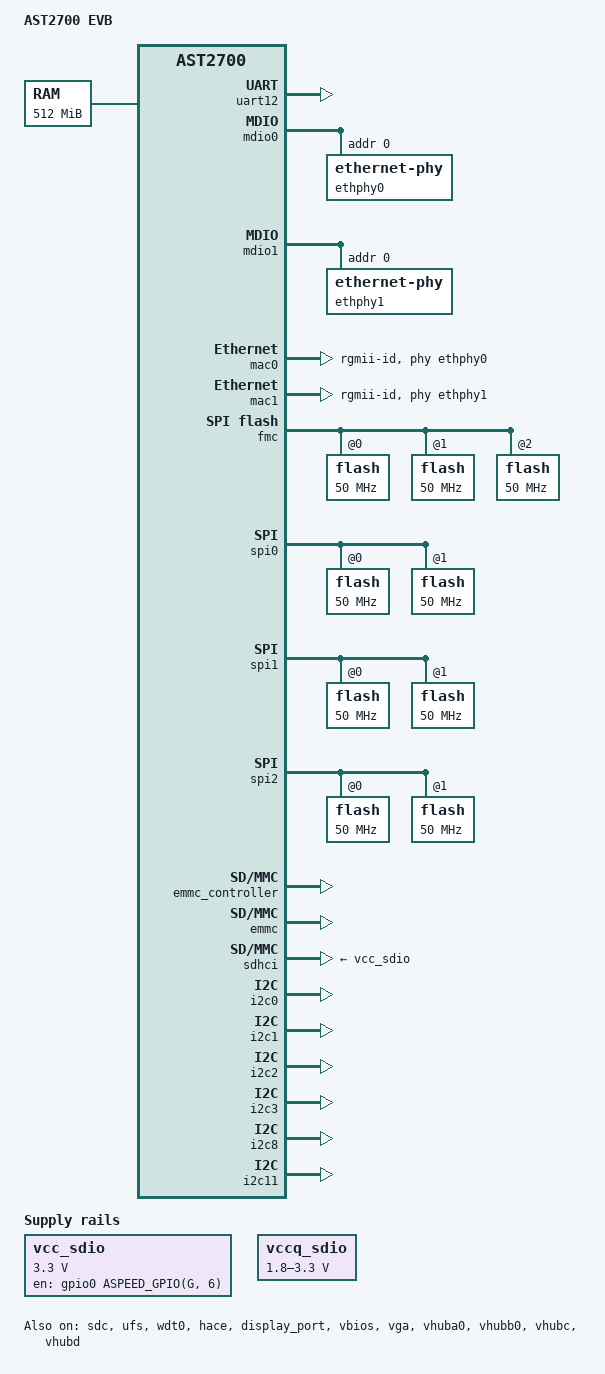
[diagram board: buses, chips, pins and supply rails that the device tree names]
// SPDX-License-Identifier: GPL-2.0+

/dts-v1/;

#include "ast2700.dtsi"
#include "ast2700-u-boot.dtsi"
#include <dt-bindings/net/ti-dp83867.h>

#define DUAL_NODE 0	// 1: DUAL_NODE, 0: SINGLE_NODE
#define EDAF_128MB 0	// 1: 128MB, 0: 64MB

/ {
	model = "AST2700 EVB";
	compatible = "aspeed,ast2700-evb", "aspeed,ast2700";

	memory {
		device_type = "memory";
		reg = <0x4 0x00000000 0x0 0x20000000>;
	};

	chosen {
		stdout-path = &uart12;
	};

	reserved-memory {
		#address-cells = <2>;
		#size-cells = <2>;

		#include "ast2700-evb-reserved-mem.dtsi"
	};
};

&uart12 {
	status = "okay";
};

&mdio0 {
	status = "okay";
	#address-cells = <1>;
	#size-cells = <0>;
	ethphy0: ethernet-phy@0 {
		reg = <0>;
	};
};

&mdio1 {
	status = "okay";
	#address-cells = <1>;
	#size-cells = <0>;
	ethphy1: ethernet-phy@0 {
		reg = <0>;
		/* For DDR5 board */
		ti,rx-internal-delay = <DP83867_RGMIIDCTL_2_00_NS>;
		ti,tx-internal-delay = <DP83867_RGMIIDCTL_2_00_NS>;
	};
};

&mac0 {
	status = "okay";
	phy-mode = "rgmii-id";
	phy-handle = <&ethphy0>;
	pinctrl-names = "default";
	pinctrl-0 = <&pinctrl_rgmii0_default>;
	rx-internal-delay-ps = <0>;
	tx-internal-delay-ps = <0>;
};

&mac1 {
	status = "okay";
	phy-mode = "rgmii-id";
	phy-handle = <&ethphy1>;
	pinctrl-names = "default";
	pinctrl-0 = <&pinctrl_rgmii1_default>;
	rx-internal-delay-ps = <0>;
	tx-internal-delay-ps = <0>;
};

#if 0
&pcie0 {
	status = "okay";
};

&pcie1 {
	status = "okay";
};

#define PCIE2_RC 1	// 1: RC, 0: SGMII
#if PCIE2_RC
&pcie2 {
	status = "okay";
};
#else
&mdio2 {
	status = "okay";
	#address-cells = <1>;
	#size-cells = <0>;
	ethphy2: ethernet-phy@0 {
		reg = <0>;
	};
};

&mac2 {
	status = "okay";
	phy-handle = <&ethphy2>;
};
#endif
#endif

&fmc {
	status = "okay";
	pinctrl-names = "default";
	pinctrl-0 = <&pinctrl_fwspi_quad_default>;

	flash@0 {
		status = "okay";
		spi-max-frequency = <50000000>;
		spi-tx-bus-width = <4>;
		spi-rx-bus-width = <4>;
	};

	flash@1 {
		status = "okay";
		spi-max-frequency = <50000000>;
		spi-tx-bus-width = <4>;
		spi-rx-bus-width = <4>;
	};

	flash@2 {
		status = "okay";
		spi-max-frequency = <50000000>;
		spi-tx-bus-width = <4>;
		spi-rx-bus-width = <4>;
	};
};

&spi0 {
	status = "okay";
	pinctrl-names = "default";
	pinctrl-0 = <&pinctrl_spi0_default &pinctrl_spi0_cs1_default>;

	flash@0 {
		status = "okay";
		spi-max-frequency = <50000000>;
		spi-tx-bus-width = <2>;
		spi-rx-bus-width = <2>;
	};

	flash@1 {
		status = "okay";
		spi-max-frequency = <50000000>;
		spi-tx-bus-width = <2>;
		spi-rx-bus-width = <2>;
	};
};

&spi1 {
	status = "okay";
	pinctrl-names = "default";
	pinctrl-0 = <&pinctrl_spi1_default &pinctrl_spi1_cs1_default>;

	flash@0 {
		status = "okay";
		spi-max-frequency = <50000000>;
		spi-tx-bus-width = <2>;
		spi-rx-bus-width = <2>;
	};

	flash@1 {
		status = "okay";
		spi-max-frequency = <50000000>;
		spi-tx-bus-width = <2>;
		spi-rx-bus-width = <2>;
	};
};

&spi2 {
	status = "okay";
	pinctrl-names = "default";
	pinctrl-0 = <&pinctrl_spi2_default &pinctrl_spi2_cs1_default>;

#if 1
	flash@0 {
		status = "okay";
		spi-max-frequency = <50000000>;
		spi-tx-bus-width = <2>;
		spi-rx-bus-width = <2>;
	};

	flash@1 {
		status = "okay";
		spi-max-frequency = <50000000>;
		spi-tx-bus-width = <2>;
		spi-rx-bus-width = <2>;
	};
#else
	compatible = "aspeed,ast2700-spi-txrx";
	spi-aspeed-full-duplex;
	tpm0: tpmdev@0 {
		compatible = "tcg,tpm_tis-spi";
		spi-max-frequency = <25000000>;
		reg = <0>;
		status = "okay";
	};
#endif
};

&emmc_controller {
	status = "okay";
	sdhci_hs200; /* enable hs200 */
};

&emmc {
	status = "okay";
	max-frequency = <200000000>;
};

&sdc {
	status = "okay";
	sdhci_hs200; /* enable sdr104 */

	vcc_sdio: vcc-sdio {
		status = "okay";
		compatible = "regulator-fixed";
		gpios = <&gpio0 ASPEED_GPIO(G, 6) GPIO_ACTIVE_HIGH>;
		regulator-name = "vcc_sdio";
		regulator-min-microvolt = <3300000>;
		regulator-max-microvolt = <3300000>;
		enable-active-high;
		regulator-boot-on;
	};

	vccq_sdio: vccq-sdio {
		status = "okay";
		compatible = "regulator-gpio";
		gpios = <&gpio0 ASPEED_GPIO(G, 7) GPIO_ACTIVE_HIGH>;
		gpios-states = <1>;
		states = <1800000 0x0>,
			 <3300000 0x1>;
		regulator-name = "vccq_sdio";
		regulator-type = "voltage";
		regulator-min-microvolt = <1800000>;
		regulator-max-microvolt = <3300000>;
		regulator-always-on;
	};
};

&sdhci {
	status = "okay";
	pinctrl-names = "default";
	pinctrl-0 = <&pinctrl_sdio_default>;
	vmmc-supply = <&vcc_sdio>;
	vqmmc-supply = <&vccq_sdio>;
	/*
	 * When running SDR104 mode, it suggests to set driving to 3.
	 * When running HS mode, it suggests to set driving to 2.
	 */
	sdhci-drive-type = <3>;
	max-frequency = <125000000>;
};

&ufs {
	status = "okay";
};

&i2c0 {
	status = "okay";
};

&i2c1 {
	status = "okay";
};

&i2c2 {
	status = "okay";
};

&i2c3 {
	status = "okay";
};

&i2c8 {
	status = "okay";
};

&i2c11 {
	status = "okay";
};

&wdt0 {
	timeout-sec = <15>;
	status = "okay";
};

&hace {
	status = "okay";
};

&display_port {
	status = "okay";
};

&vbios {
	status = "okay";
};

&vga {
	status = "okay";
};

&vhuba0 {
	status = "okay";
};

&vhubb0 {
	status = "okay";
};

&vhubc {
	status = "okay";
};

&vhubd {
	status = "okay";
};

#if 0
&soc0 {
	mbox-ssp-0 {
		compatible = "aspeed,aspeed-mbox";
		reg = <0x4 0x31480000 0x0 0x200000>, <0x0 0x10001000 0x0 0x1000>;
		mboxes = <&mbox0 0>;
	};
};

&soc1 {
	mbox-bootmcu-0 {
		compatible = "aspeed,aspeed-mbox";
		reg = <0x4 0x31a80000 0x0 0x80000>, <0x4 0x31a88000 0x0 0x80000>;
		mboxes = <&mbox2 0>;
	};
};
#endif

&soc0 {
	mbox-bootmcu-1 {
		compatible = "aspeed,aspeed-mbox";
		reg = <0x4 0x31880000 0x0 0x100000>, <0x4 0x31980000 0x0 0x100000>;
		mboxes = <&mbox2 1>;
	};
};
